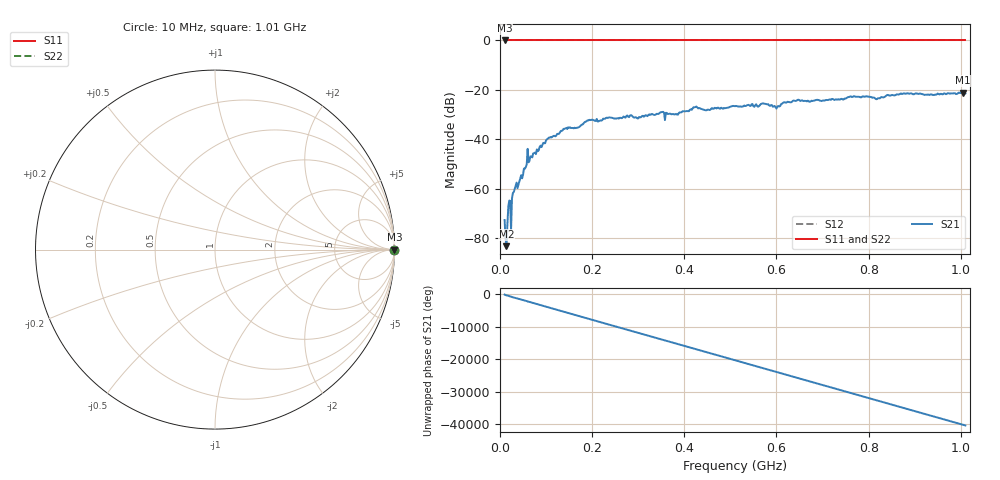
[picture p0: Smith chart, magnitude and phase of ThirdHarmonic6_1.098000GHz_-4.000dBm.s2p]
! 8/16/2025 10:17:22 AM
! C:\ANRITSUVNA\TEMP\TEMP.S2P
! CHANNEL.1
! TR.MEASUREMENT
! RAW.DATA
! RF.CORRECTION.OFF
! AVERAGING.OFF
! IF.BANDWIDTH: 5KHZ
! SWEEPTYPE:  FREQ.SWEEP(Linear)
! Reference Plane Port Info
! PORT:  PORT1  PORT2
! DISTANCE:  0  m  0  m
! TIME:  0  s  0  s
! PHASE.OFFSET:  0  deg.  0  deg.
! LOSS:  0  dB  0  dB
! REF.LOSS:  0  dB  0  dB
! REF.FREQ:  0  Hz  0  Hz
! Power Info
! POWER:  -20  dBm  -20  dBm
! EFF.POWER:  -20  dBm  -20  dBm
! SOURCE.ATTEN:  0  dB  0  dB
! TEST.ATTEN:  0  dB  0  dB
# GHZ S RI R 50.0
! FREQ.GHZ  S11RE  S11IM  S21RE  S21IM  S12RE  S12IM  S22RE  S22IM
!; PortSelection: Port_12
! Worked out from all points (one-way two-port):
!   501 points, 10 MHz to 1.01 GHz, reference 50 ohm
!   highest |S21| = -21.10 dB at 1.004 GHz (marker M1); lowest = -83.4 dB at 14 MHz (marker M2)
!   lowest |S11| = 0.0 dB at 10 MHz (marker M3)
!   |S11| at or under -10 dB: nowhere
!   |S22| runs from 0.0 to 0.0 dB; largest |S21 - S12| = 1.1
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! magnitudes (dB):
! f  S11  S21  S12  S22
! 10 MHz  0.0  -72.8  0.0  0.0
! 14 MHz  0.0  -83.4  0.0  0.0
! 18 MHz  0.0  -67.5  0.0  0.0
! 28 MHz  0.0  -61.8  0.0  0.0
! 30 MHz  0.0  -61.4  0.0  0.0
! 32 MHz  0.0  -60.1  0.0  0.0
! 42 MHz  0.0  -57.1  0.0  0.0
! 64 MHz  0.0  -48.8  0.0  0.0
! 106 MHz  0.0  -39.4  0.0  0.0
! 140 MHz  0.0  -35.8  0.0  0.0
! 178 MHz  0.0  -34.1  0.0  0.0
! 196 MHz  0.0  -32.3  0.0  0.0
! 344 MHz  0.0  -29.8  0.0  0.0
! 424 MHz  0.0  -27.0  0.0  0.0
! 510 MHz  0.0  -26.6  0.0  0.0
! 572 MHz  0.0  -25.6  0.0  0.0
! 602 MHz  0.0  -26.8  0.0  0.0
! 644 MHz  0.0  -24.3  0.0  0.0
! 678 MHz  0.0  -24.5  0.0  0.0
! 844 MHz  0.0  -22.3  0.0  0.0
! 1.004 GHz  0.0  -21.1  0.0  0.0
! 1.01 GHz  0.0  -21.5  0.0  0.0
